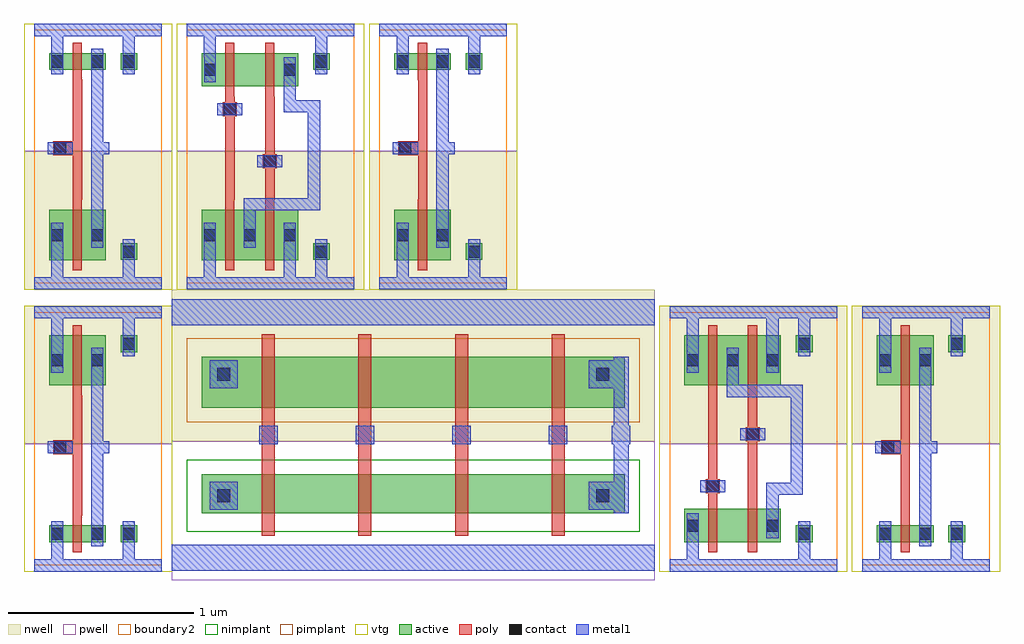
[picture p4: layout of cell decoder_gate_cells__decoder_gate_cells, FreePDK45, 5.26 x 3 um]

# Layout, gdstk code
import gdstk
lib = gdstk.Library(unit=1e-6, precision=1e-09)
def R(c, l, rs):  # rectangles x0, y0, x1, y1
    for r in rs: c.add(gdstk.rectangle(r[:2], r[2:], *l))
def A(c, l, x, y, w, h, nx, ny, dx, dy):  # array of equal rectangles
    R(c, l, [(x+i*dx, y+j*dy, x+i*dx+w, y+j*dy+h) for i in range(nx) for j in range(ny)])
active = (1, 0)
pwell = (2, 0)
nwell = (3, 0)
nimplant = (4, 0)
pimplant = (5, 0)
vtg = (6, 0)
poly = (9, 0)
contact = (10, 0)
metal1 = (11, 0)
boundary2 = (239, 0)

decoder_gate_cells__sram = lib.new_cell('decoder_gate_cells__sram_1rw_32x16_freepdk45_contact_11')
R(decoder_gate_cells__sram, active, [(0,0.022,0.09,0.112)])
R(decoder_gate_cells__sram, nwell, [(-0.055,-0.033,0.145,0.168)])
R(decoder_gate_cells__sram, pimplant, [(0,0.022,0.09,0.112)])
R(decoder_gate_cells__sram, contact, [(0.013,0.035,0.077,0.1)])
R(decoder_gate_cells__sram, metal1, [(0.013,0,0.077,0.135)])
R(decoder_gate_cells__sram, boundary2, [(-0.055,-0.033,0.145,0.168)])

c_decoder_gate_cells__sram = lib.new_cell('decoder_gate_cells__sram_1rw_32x16_freepdk45_pmos_m1_w0_270_sm1_dm1_da_p')
R(c_decoder_gate_cells__sram, active, [(0,0,0.305,0.27)])
R(c_decoder_gate_cells__sram, nwell, [(-0.08,-0.08,0.385,0.35)])
R(c_decoder_gate_cells__sram, pimplant, [(0,0,0.305,0.27)])
R(c_decoder_gate_cells__sram, vtg, [(-0.08,-0.08,0.385,0.35)])
R(c_decoder_gate_cells__sram, poly, [(0.127,-0.055,0.177,0.325), (0.127,-0.055,0.177,0.325)])
R(c_decoder_gate_cells__sram, metal1, [(0.013,0.068,0.077,0.203), (0.227,0.068,0.292,0.203)])
R(c_decoder_gate_cells__sram, boundary2, [(-0.08,-0.08,0.385,0.35)])
c_decoder_gate_cells__sram.add(gdstk.Reference(decoder_gate_cells__sram, (0,0.068)))
c_decoder_gate_cells__sram.add(gdstk.Reference(decoder_gate_cells__sram, (0.215,0.068)))
c_decoder_gate_cells__sram.add(gdstk.Label('G', (0.152,0.135), layer=9, texttype=0))
c_decoder_gate_cells__sram.add(gdstk.Label('S', (0.045,0.135), layer=11, texttype=0))
c_decoder_gate_cells__sram.add(gdstk.Label('D', (0.26,0.135), layer=11, texttype=0))

c_decoder_gate_cells__sram_ = lib.new_cell('decoder_gate_cells__sram_1rw_32x16_freepdk45_contact_10')
R(c_decoder_gate_cells__sram_, active, [(0,0.022,0.09,0.112)])
R(c_decoder_gate_cells__sram_, pwell, [(-0.055,-0.033,0.145,0.168)])
R(c_decoder_gate_cells__sram_, nimplant, [(0,0.022,0.09,0.112)])
R(c_decoder_gate_cells__sram_, contact, [(0.013,0.035,0.077,0.1)])
R(c_decoder_gate_cells__sram_, metal1, [(0.013,0,0.077,0.135)])
R(c_decoder_gate_cells__sram_, boundary2, [(-0.055,-0.033,0.145,0.168)])

c_decoder_gate_cells__sram__ = lib.new_cell('decoder_gate_cells__sram_1rw_32x16_freepdk45_nmos_m1_w0_090_sm1_dm1_da_p')
R(c_decoder_gate_cells__sram__, active, [(0,0,0.305,0.09)])
R(c_decoder_gate_cells__sram__, pwell, [(-0.08,-0.08,0.385,0.17)])
R(c_decoder_gate_cells__sram__, nimplant, [(0,0,0.305,0.09)])
R(c_decoder_gate_cells__sram__, vtg, [(-0.08,-0.08,0.385,0.17)])
R(c_decoder_gate_cells__sram__, poly, [(0.127,-0.055,0.177,0.145), (0.127,-0.055,0.177,0.145)])
R(c_decoder_gate_cells__sram__, metal1, [(0.013,-0.022,0.077,0.112), (0.227,-0.022,0.292,0.112)])
R(c_decoder_gate_cells__sram__, boundary2, [(-0.08,-0.08,0.385,0.17)])
c_decoder_gate_cells__sram__.add(gdstk.Reference(c_decoder_gate_cells__sram_, (0,-0.022)))
c_decoder_gate_cells__sram__.add(gdstk.Reference(c_decoder_gate_cells__sram_, (0.215,-0.022)))
c_decoder_gate_cells__sram__.add(gdstk.Label('G', (0.152,0.045), layer=9, texttype=0))
c_decoder_gate_cells__sram__.add(gdstk.Label('S', (0.045,0.045), layer=11, texttype=0))
c_decoder_gate_cells__sram__.add(gdstk.Label('D', (0.26,0.045), layer=11, texttype=0))

c_decoder_gate_cells__sram___ = lib.new_cell('decoder_gate_cells__sram_1rw_32x16_freepdk45_contact_12')
R(c_decoder_gate_cells__sram___, active, [(0,0.022,0.09,0.112)])
R(c_decoder_gate_cells__sram___, nwell, [(-0.055,-0.033,0.145,0.168)])
R(c_decoder_gate_cells__sram___, nimplant, [(0,0.022,0.09,0.112)])
R(c_decoder_gate_cells__sram___, contact, [(0.013,0.035,0.077,0.1)])
R(c_decoder_gate_cells__sram___, metal1, [(0.013,0,0.077,0.135)])
R(c_decoder_gate_cells__sram___, boundary2, [(-0.055,-0.033,0.145,0.168)])

c_decoder_gate_cells__sram____ = lib.new_cell('decoder_gate_cells__sram_1rw_32x16_freepdk45_contact_13')
R(c_decoder_gate_cells__sram____, active, [(0,0.022,0.09,0.112)])
R(c_decoder_gate_cells__sram____, pwell, [(-0.055,-0.033,0.145,0.168)])
R(c_decoder_gate_cells__sram____, pimplant, [(0,0.022,0.09,0.112)])
R(c_decoder_gate_cells__sram____, contact, [(0.013,0.035,0.077,0.1)])
R(c_decoder_gate_cells__sram____, metal1, [(0.013,0,0.077,0.135)])
R(c_decoder_gate_cells__sram____, boundary2, [(-0.055,-0.033,0.145,0.168)])

c_decoder_gate_cells__sram_____ = lib.new_cell('decoder_gate_cells__sram_1rw_32x16_freepdk45_contact_14')
R(c_decoder_gate_cells__sram_____, poly, [(0.03,0,0.105,0.075)])
R(c_decoder_gate_cells__sram_____, contact, [(0.035,0.005,0.1,0.07)])
R(c_decoder_gate_cells__sram_____, metal1, [(0,0.005,0.135,0.07)])
R(c_decoder_gate_cells__sram_____, boundary2, [(0,0,0.135,0.075)])

decoder_gate_cells__gen_ = lib.new_cell('decoder_gate_cells__gen_inv')
R(decoder_gate_cells__gen_, pwell, [(-0.055,-0.033,0.743,0.655)])
R(decoder_gate_cells__gen_, nwell, [(-0.055,0.655,0.743,1.4)])
R(decoder_gate_cells__gen_, vtg, [(-0.055,-0.033,0.743,0.655), (-0.055,0.655,0.743,1.4)])
R(decoder_gate_cells__gen_, poly, [(0.208,0.27,0.258,0.915), (0.14,0.6,0.208,0.675)])
R(decoder_gate_cells__gen_, metal1, [(0,-0.033,0.687,0.033), (0.092,-0.033,0.157,0.103), (0.478,0,0.542,0.17), (0.307,0.103,0.372,1.173), (0.072,0.605,0.208,0.67), (0.34,0.605,0.405,0.67), (0.092,1.038,0.157,1.397), (0.478,1.195,0.542,1.365), (0,1.332,0.687,1.397)])
R(decoder_gate_cells__gen_, boundary2, [(0,0,0.687,1.365), (0,0,0.687,1.365)])
decoder_gate_cells__gen_.add(gdstk.Reference(c_decoder_gate_cells__sram, (0.08,0.97)))
decoder_gate_cells__gen_.add(gdstk.Reference(c_decoder_gate_cells__sram__, (0.08,0.125)))
decoder_gate_cells__gen_.add(gdstk.Reference(c_decoder_gate_cells__sram___, (0.465,1.127)))
decoder_gate_cells__gen_.add(gdstk.Reference(c_decoder_gate_cells__sram____, (0.465,0.103)))
decoder_gate_cells__gen_.add(gdstk.Reference(c_decoder_gate_cells__sram_____, (0.072,0.6)))
decoder_gate_cells__gen_.add(gdstk.Label('A', (0.14,0.638), layer=11, texttype=0))
decoder_gate_cells__gen_.add(gdstk.Label('Z', (0.372,0.638), layer=11, texttype=0))
decoder_gate_cells__gen_.add(gdstk.Label('gnd', (0.345,0), layer=11, texttype=0))
decoder_gate_cells__gen_.add(gdstk.Label('vdd', (0.345,1.365), layer=11, texttype=0))

c_decoder_gate_cells__gen_ = lib.new_cell('decoder_gate_cells__gen_nand4')
R(c_decoder_gate_cells__gen_, active, [(0.16,0.36,2.44,0.57), (0.16,0.93,2.44,1.205)])
R(c_decoder_gate_cells__gen_, pwell, [(0,0,2.6,0.75)])
R(c_decoder_gate_cells__gen_, nwell, [(0,0.75,2.6,1.565)])
R(c_decoder_gate_cells__gen_, nimplant, [(0.08,0.26,2.52,0.65)])
R(c_decoder_gate_cells__gen_, pimplant, [(0.08,0.85,2.52,1.305)])
A(c_decoder_gate_cells__gen_, poly, 0.485, 0.24, 0.07, 1.085, 4, 1, 0.52, 0)
R(c_decoder_gate_cells__gen_, contact, [(0.245,0.42,0.315,0.49), (2.285,0.42,2.355,0.49), (0.245,1.075,0.315,1.145), (2.285,1.075,2.355,1.145)])
A(c_decoder_gate_cells__gen_, metal1, 0.47, 0.733, 0.1, 0.099, 4, 1, 0.52, 0)
R(c_decoder_gate_cells__gen_, metal1, [(0,0.05,2.6,0.19), (1.25,0.07,1.35,0.17), (2.38,0.36,2.46,1.205), (0.205,0.38,0.355,0.53), (2.245,0.38,2.395,0.53), (2.37,0.733,2.47,0.832), (0.205,1.035,0.355,1.185), (2.245,1.035,2.395,1.185), (0,1.375,2.6,1.515), (1.25,1.395,1.35,1.495)])

c_decoder_gate_cells__sram______ = lib.new_cell('decoder_gate_cells__sram_1rw_32x16_freepdk45_contact_11__gen_nand2')
R(c_decoder_gate_cells__sram______, active, [(0,0.022,0.09,0.112)])
R(c_decoder_gate_cells__sram______, nwell, [(-0.055,-0.033,0.145,0.168)])
R(c_decoder_gate_cells__sram______, pimplant, [(0,0.022,0.09,0.112)])
R(c_decoder_gate_cells__sram______, contact, [(0.013,0.035,0.077,0.1)])
R(c_decoder_gate_cells__sram______, metal1, [(0.013,0,0.077,0.135)])
R(c_decoder_gate_cells__sram______, boundary2, [(-0.055,-0.033,0.145,0.168)])

c_decoder_gate_cells__sram_______ = lib.new_cell('decoder_gate_cells__sram_1rw_32x16_freepdk45_pmos_m1_w0_270_sm1_dm1')
R(c_decoder_gate_cells__sram_______, active, [(0,0,0.305,0.27)])
R(c_decoder_gate_cells__sram_______, nwell, [(-0.08,-0.08,0.385,0.35)])
R(c_decoder_gate_cells__sram_______, pimplant, [(0,0,0.305,0.27)])
R(c_decoder_gate_cells__sram_______, vtg, [(-0.08,-0.08,0.385,0.35)])
R(c_decoder_gate_cells__sram_______, poly, [(0.127,-0.055,0.177,0.325), (0.127,-0.055,0.177,0.325)])
R(c_decoder_gate_cells__sram_______, metal1, [(0.013,0.068,0.077,0.203), (0.227,0.068,0.292,0.203)])
R(c_decoder_gate_cells__sram_______, boundary2, [(-0.08,-0.08,0.385,0.35)])
c_decoder_gate_cells__sram_______.add(gdstk.Reference(c_decoder_gate_cells__sram______, (0,0.068)))
c_decoder_gate_cells__sram_______.add(gdstk.Reference(c_decoder_gate_cells__sram______, (0.215,0.068)))
c_decoder_gate_cells__sram_______.add(gdstk.Label('G', (0.152,0.135), layer=9, texttype=0))
c_decoder_gate_cells__sram_______.add(gdstk.Label('S', (0.045,0.135), layer=11, texttype=0))
c_decoder_gate_cells__sram_______.add(gdstk.Label('D', (0.26,0.135), layer=11, texttype=0))

c_decoder_gate_cells__sram________ = lib.new_cell('decoder_gate_cells__sram_1rw_32x16_freepdk45_contact_10__gen_nand2')
R(c_decoder_gate_cells__sram________, active, [(0,0.022,0.09,0.112)])
R(c_decoder_gate_cells__sram________, pwell, [(-0.055,-0.033,0.145,0.168)])
R(c_decoder_gate_cells__sram________, nimplant, [(0,0.022,0.09,0.112)])
R(c_decoder_gate_cells__sram________, contact, [(0.013,0.035,0.077,0.1)])
R(c_decoder_gate_cells__sram________, metal1, [(0.013,0,0.077,0.135)])
R(c_decoder_gate_cells__sram________, boundary2, [(-0.055,-0.033,0.145,0.168)])

c_decoder_gate_cells__sram_________ = lib.new_cell('decoder_gate_cells__sram_1rw_32x16_freepdk45_nmos_m1_w0_180_sm1_dactive')
R(c_decoder_gate_cells__sram_________, active, [(0,0,0.305,0.18), (0.215,0.045,0.305,0.135)])
R(c_decoder_gate_cells__sram_________, pwell, [(-0.08,-0.08,0.385,0.26)])
R(c_decoder_gate_cells__sram_________, nimplant, [(0,0,0.305,0.18)])
R(c_decoder_gate_cells__sram_________, vtg, [(-0.08,-0.08,0.385,0.26)])
R(c_decoder_gate_cells__sram_________, poly, [(0.127,-0.055,0.177,0.235), (0.127,-0.055,0.177,0.235)])
R(c_decoder_gate_cells__sram_________, metal1, [(0.013,0.022,0.077,0.157)])
R(c_decoder_gate_cells__sram_________, boundary2, [(-0.08,-0.08,0.385,0.26)])
c_decoder_gate_cells__sram_________.add(gdstk.Reference(c_decoder_gate_cells__sram________, (0,0.022)))
c_decoder_gate_cells__sram_________.add(gdstk.Label('G', (0.152,0.09), layer=9, texttype=0))
c_decoder_gate_cells__sram_________.add(gdstk.Label('S', (0.045,0.09), layer=11, texttype=0))
c_decoder_gate_cells__sram_________.add(gdstk.Label('D', (0.26,0.09), layer=1, texttype=0))

c_decoder_gate_cells__sram__________ = lib.new_cell('decoder_gate_cells__sram_1rw_32x16_freepdk45_nmos_m1_w0_180_sactive_dm1')
R(c_decoder_gate_cells__sram__________, active, [(0,0,0.305,0.18), (0,0.045,0.09,0.135)])
R(c_decoder_gate_cells__sram__________, pwell, [(-0.08,-0.08,0.385,0.26)])
R(c_decoder_gate_cells__sram__________, nimplant, [(0,0,0.305,0.18)])
R(c_decoder_gate_cells__sram__________, vtg, [(-0.08,-0.08,0.385,0.26)])
R(c_decoder_gate_cells__sram__________, poly, [(0.127,-0.055,0.177,0.235), (0.127,-0.055,0.177,0.235)])
R(c_decoder_gate_cells__sram__________, metal1, [(0.227,0.022,0.292,0.157)])
R(c_decoder_gate_cells__sram__________, boundary2, [(-0.08,-0.08,0.385,0.26)])
c_decoder_gate_cells__sram__________.add(gdstk.Reference(c_decoder_gate_cells__sram________, (0.215,0.022)))
c_decoder_gate_cells__sram__________.add(gdstk.Label('G', (0.152,0.09), layer=9, texttype=0))
c_decoder_gate_cells__sram__________.add(gdstk.Label('S', (0.045,0.09), layer=1, texttype=0))
c_decoder_gate_cells__sram__________.add(gdstk.Label('D', (0.26,0.09), layer=11, texttype=0))

c_decoder_gate_cells__gen__ = lib.new_cell('decoder_gate_cells__gen_nand2')
R(c_decoder_gate_cells__gen__, pwell, [(-0.055,-0.033,0.957,0.655)])
R(c_decoder_gate_cells__gen__, nwell, [(-0.055,0.655,0.957,1.4)])
R(c_decoder_gate_cells__gen__, vtg, [(-0.055,-0.033,0.957,0.655), (-0.055,0.655,0.957,1.4)])
R(c_decoder_gate_cells__gen__, poly, [(0.208,0.36,0.258,0.915), (0.422,0.36,0.473,0.915), (0.208,0.39,0.232,0.465), (0.422,0.67,0.447,0.745)])
R(c_decoder_gate_cells__gen__, metal1, [(0,-0.033,0.902,0.033), (0.092,-0.033,0.157,0.147), (0.692,0,0.758,0.17), (0.522,0.283,0.588,0.413), (0.522,0.38,0.588,0.445), (0.555,0.38,0.685,0.445), (0.652,0.38,0.718,0.445), (0.165,0.395,0.3,0.46), (0.652,0.413,0.718,0.94), (0.38,0.675,0.515,0.74), (0.307,0.907,0.372,0.972), (0.34,0.907,0.685,0.972), (0.652,0.907,0.718,0.972), (0.307,0.94,0.372,1.038), (0.092,1.038,0.157,1.397), (0.522,1.038,0.588,1.397), (0.692,1.195,0.758,1.365), (0,1.332,0.902,1.397)])
R(c_decoder_gate_cells__gen__, boundary2, [(0,0,0.902,1.365), (0,0,0.902,1.365)])
c_decoder_gate_cells__gen__.add(gdstk.Reference(c_decoder_gate_cells__sram_______, (0.08,0.97)))
c_decoder_gate_cells__gen__.add(gdstk.Reference(c_decoder_gate_cells__sram_______, (0.295,0.97)))
c_decoder_gate_cells__gen__.add(gdstk.Reference(c_decoder_gate_cells__sram_________, (0.08,0.125)))
c_decoder_gate_cells__gen__.add(gdstk.Reference(c_decoder_gate_cells__sram__________, (0.295,0.125)))
c_decoder_gate_cells__gen__.add(gdstk.Reference(c_decoder_gate_cells__sram___, (0.68,1.127)))
c_decoder_gate_cells__gen__.add(gdstk.Reference(c_decoder_gate_cells__sram____, (0.68,0.103)))
c_decoder_gate_cells__gen__.add(gdstk.Reference(c_decoder_gate_cells__sram_____, (0.165,0.39)))
c_decoder_gate_cells__gen__.add(gdstk.Reference(c_decoder_gate_cells__sram_____, (0.38,0.67)))
c_decoder_gate_cells__gen__.add(gdstk.Label('Z', (0.685,0.94), layer=11, texttype=0))
c_decoder_gate_cells__gen__.add(gdstk.Label('gnd', (0.45,0), layer=11, texttype=0))
c_decoder_gate_cells__gen__.add(gdstk.Label('vdd', (0.45,1.365), layer=11, texttype=0))
c_decoder_gate_cells__gen__.add(gdstk.Label('A', (0.232,0.427), layer=11, texttype=0))
c_decoder_gate_cells__gen__.add(gdstk.Label('B', (0.447,0.707), layer=11, texttype=0))

decoder_gate_cells__deco = lib.new_cell('decoder_gate_cells__decoder_gate_cells')
decoder_gate_cells__deco.add(gdstk.Reference(decoder_gate_cells__gen_, (0.08,0.08)))
decoder_gate_cells__deco.add(gdstk.Reference(c_decoder_gate_cells__gen_, (0.822,0)))
decoder_gate_cells__deco.add(gdstk.Reference(c_decoder_gate_cells__gen__, (3.503,0.08)))
decoder_gate_cells__deco.add(gdstk.Reference(decoder_gate_cells__gen_, (4.54,0.08)))
decoder_gate_cells__deco.add(gdstk.Reference(decoder_gate_cells__gen_, (0.08,2.965), x_reflection=True))
decoder_gate_cells__deco.add(gdstk.Reference(c_decoder_gate_cells__gen__, (0.902,2.965), x_reflection=True))
decoder_gate_cells__deco.add(gdstk.Reference(decoder_gate_cells__gen_, (1.94,2.965), x_reflection=True))

lib.write_gds('decoder_gate_cells__decoder_gate_cells.gds')
